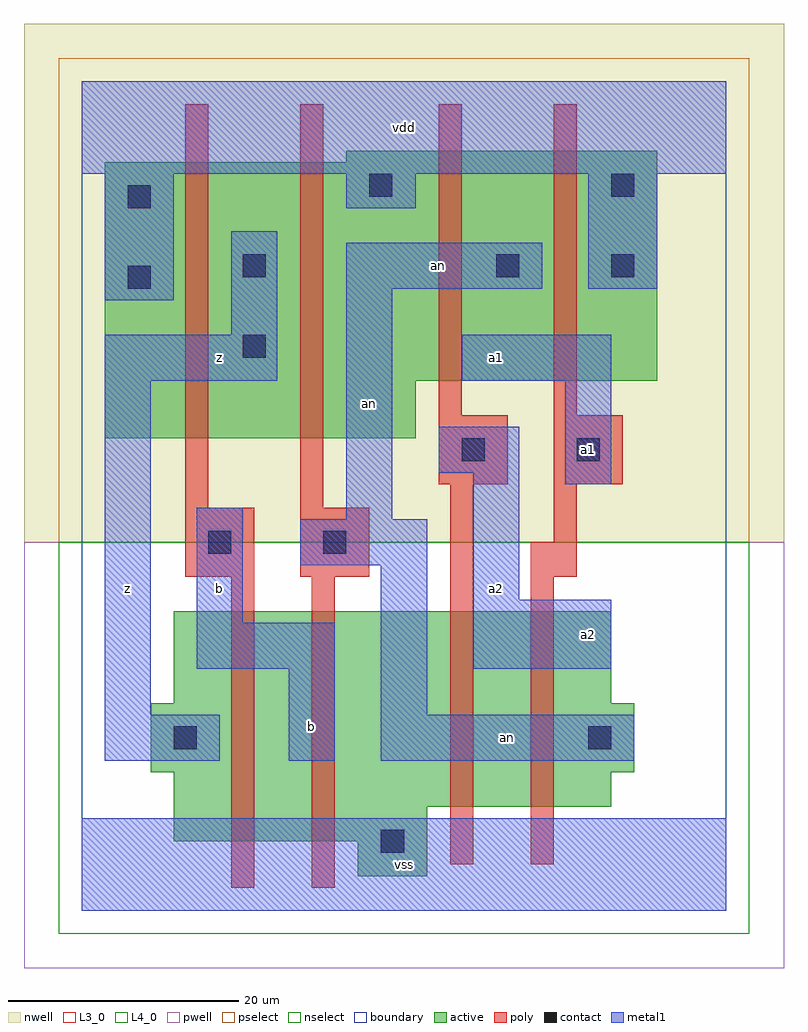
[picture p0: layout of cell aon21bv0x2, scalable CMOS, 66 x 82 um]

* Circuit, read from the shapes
.subckt aon21bv0x2 a1 a2 an b vdd vss z
M1 n1 b z VSUBS nfet w=20u l=2u
M2 vss an n1 VSUBS nfet w=20u l=2u
M3 n2 a2 vss VSUBS nfet w=17u l=2u
M4 an a1 n2 VSUBS nfet w=17u l=2u
M5 z b vdd n3 pfet w=24u l=2u
M6 vdd an z n3 pfet w=24u l=2u
M7 an a2 vdd n3 pfet w=20u l=2u
M8 vdd a1 an n3 pfet w=20u l=2u
.ends

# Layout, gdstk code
import gdstk
lib = gdstk.Library(unit=1e-6, precision=1e-09)
def R(c, l, rs):  # rectangles x0, y0, x1, y1
    for r in rs: c.add(gdstk.rectangle(r[:2], r[2:], *l))
L3_0 = (3, 0)
L4_0 = (4, 0)
contact = (25, 0)
pwell = (41, 0)
nwell = (42, 0)
active = (43, 0)
pselect = (44, 0)
nselect = (45, 0)
poly = (46, 0)
metal1 = (49, 0)
boundary = (63, 0)

aon21bv0x2 = lib.new_cell('aon21bv0x2')
R(aon21bv0x2, L3_0, [(24,3,30,6), (8,6,30,9), (8,9,46,12), (6,12,48,18), (8,18,46,26)])
R(aon21bv0x2, L4_0, [(2,41,29,46), (2,46,50,65), (23,65,50,66)])
R(aon21bv0x2, contact, [(26,5,28,7), (8,14,10,16), (44,14,46,16), (11,31,13,33), (21,31,23,33), (33,39,35,41), (43,39,45,41), (14,48,16,50), (4,54,6,56), (14,55,16,57), (36,55,38,57), (46,55,48,57), (4,61,6,63), (25,62,27,64), (46,62,48,64)])
R(aon21bv0x2, pwell, [(-5,-5,61,32)])
R(aon21bv0x2, nwell, [(-5,32,61,77)])
R(aon21bv0x2, active, [(24,3,30,6), (8,6,30,9), (8,9,46,12), (6,12,48,18), (8,18,46,26), (2,41,29,46), (2,46,50,65), (23,65,50,66)])
R(aon21bv0x2, pselect, [(-2,32,58,74)])
R(aon21bv0x2, nselect, [(-2,-2,58,32)])
R(aon21bv0x2, poly, [(13,2,15,29), (20,2,22,29), (32,4,34,37), (39,4,41,29), (9,29,15,35), (19,29,25,35), (39,29,43,32), (41,32,43,37), (9,35,11,70), (19,35,21,70), (31,37,37,43), (41,37,47,43), (31,43,33,70), (41,43,43,70)])
R(aon21bv0x2, metal1, [(0,0,56,8), (2,13,12,17), (18,13,22,21), (26,13,48,17), (2,17,6,46), (26,17,30,30), (10,21,22,25), (34,21,46,27), (10,25,14,35), (34,27,38,38), (19,30,30,34), (23,34,27,54), (42,37,46,46), (31,38,38,42), (2,46,17,50), (33,46,46,50), (13,50,17,59), (2,53,8,64), (23,54,40,58), (44,54,50,64), (23,61,29,64), (0,64,56,72)])
R(aon21bv0x2, boundary, [(0,0,56,72)])
aon21bv0x2.add(gdstk.Label('an', (25,44), layer=49, texttype=0))
aon21bv0x2.add(gdstk.Label('an', (37,15), layer=49, texttype=0))
aon21bv0x2.add(gdstk.Label('an', (31,56), layer=49, texttype=0))
aon21bv0x2.add(gdstk.Label('z', (4,28), layer=49, texttype=0))
aon21bv0x2.add(gdstk.Label('b', (20,16), layer=49, texttype=0))
aon21bv0x2.add(gdstk.Label('b', (12,28), layer=49, texttype=0))
aon21bv0x2.add(gdstk.Label('z', (12,48), layer=49, texttype=0))
aon21bv0x2.add(gdstk.Label('vss', (28,4), layer=49, texttype=0))
aon21bv0x2.add(gdstk.Label('a2', (36,28), layer=49, texttype=0))
aon21bv0x2.add(gdstk.Label('a1', (36,48), layer=49, texttype=0))
aon21bv0x2.add(gdstk.Label('vdd', (28,68), layer=49, texttype=0))
aon21bv0x2.add(gdstk.Label('a2', (44,24), layer=49, texttype=0))
aon21bv0x2.add(gdstk.Label('a1', (44,40), layer=49, texttype=0))

lib.write_gds('aon21bv0x2.gds')
